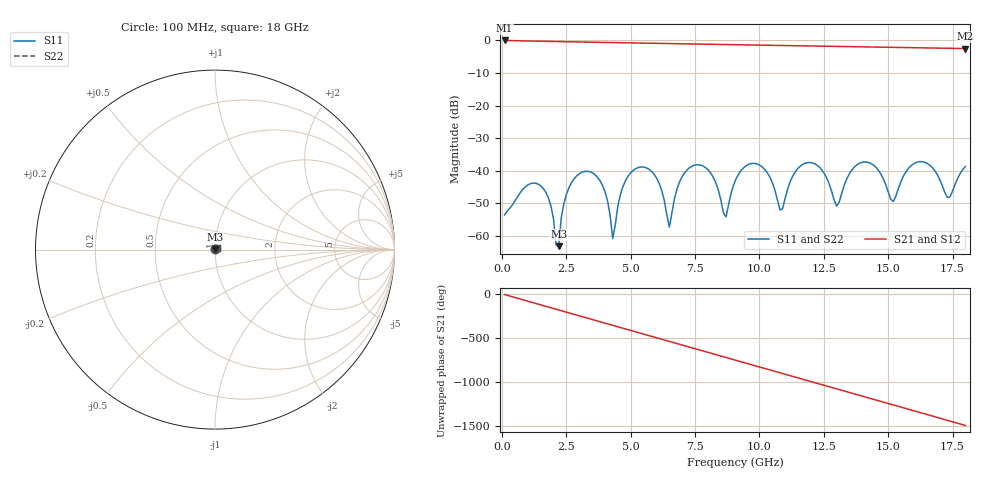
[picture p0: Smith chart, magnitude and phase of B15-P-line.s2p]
! yapnr rf coupon B: B15 P L40 (line, family P)
! stackup JLC06161H-2116C, nominal parameters; reference planes 10 mm from each end; 50 ohm (renormalized from the line's Zc)
! model: 2D quasi-static RLGC (Djordjevic-Sarkar, Huray roughness, Wheeler loss); generated by python -m yapnr.rf.coupons expected
# GHz S DB R 50
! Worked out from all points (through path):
!   180 points, 100 MHz to 18 GHz, reference 50 ohm
!   highest |S21| = -0.04 dB at 100 MHz (marker M1); lowest = -2.5 dB at 18 GHz (marker M2)
!   group delay of S21, straight-line fit = 230 ps
!   lowest |S11| = -63.1 dB at 2.2 GHz (marker M3), VSWR 1.00, Z = 50 + j0.0667 ohm
!   |S11| at or under -10 dB: start of sweep to end of sweep
!   |S22| runs from -63.1 to -37.2 dB; largest |S21 - S12| = 0
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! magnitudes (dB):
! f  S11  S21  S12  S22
! 100 MHz  -53.5  0.0  0.0  -53.5
! 1.4 GHz  -44.1  -0.3  -0.3  -44.1
! 2.2 GHz  -63.1  -0.4  -0.4  -63.1
! 2.5 GHz  -47.2  -0.4  -0.4  -47.2
! 3.1 GHz  -40.5  -0.5  -0.5  -40.5
! 3.9 GHz  -44.4  -0.6  -0.6  -44.4
! 4.3 GHz  -60.8  -0.7  -0.7  -60.8
! 5 GHz  -40.6  -0.8  -0.8  -40.6
! 6.1 GHz  -43.8  -0.9  -0.9  -43.8
! 6.5 GHz  -57.3  -1.0  -1.0  -57.3
! 7.3 GHz  -38.9  -1.1  -1.1  -38.9
! 8.7 GHz  -54.1  -1.3  -1.3  -54.1
! 9.1 GHz  -42.3  -1.3  -1.3  -42.3
! 10.1 GHz  -38.8  -1.5  -1.5  -38.8
! 10.8 GHz  -52.0  -1.6  -1.6  -52.0
! 12.1 GHz  -37.7  -1.8  -1.8  -37.7
! 13 GHz  -50.8  -1.9  -1.9  -50.8
! 14 GHz  -37.4  -2.0  -2.0  -37.4
! 15.1 GHz  -48.7  -2.1  -2.1  -48.7
! 16.1 GHz  -37.4  -2.3  -2.3  -37.4
! 17.3 GHz  -48.2  -2.4  -2.4  -48.2
! 18 GHz  -38.7  -2.5  -2.5  -38.7
